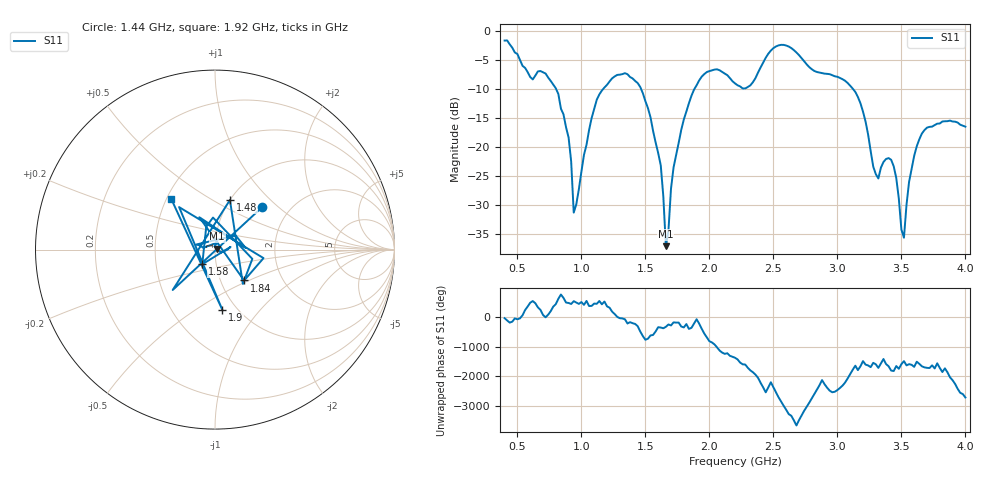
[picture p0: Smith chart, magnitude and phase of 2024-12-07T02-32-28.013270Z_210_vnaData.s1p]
!Created with skrf (http://scikit-rf.org).
# Hz S RI R 50.0
!freq ReS11 ImS11
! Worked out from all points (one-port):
!   181 points, 400 MHz to 4 GHz, reference 50 ohm
!   lowest |S11| = -37.2 dB at 1.66 GHz (marker M1), VSWR 1.03, Z = 51.3 + j0.57 ohm
!   |S11| at or under -10 dB: 801.1 MHz to 1.173 GHz (371.5 MHz wide, 37.6 % of centre); 1.465 GHz to 1.885 GHz (419.5 MHz wide, 25 % of centre); 3.12 GHz to end of sweep
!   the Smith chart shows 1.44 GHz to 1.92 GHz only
!   S11 on the Smith chart (normalised r, x): 1.44 GHz: 1.46, +0.79; 1.48 GHz: 1.00, +0.60; 1.58 GHz: 0.86, -0.14; 1.84 GHz: 1.29, -0.47; 1.9 GHz: 0.86, -0.65; 1.92 GHz: 0.53, +0.35
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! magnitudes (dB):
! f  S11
! 400 MHz  -1.7
! 620 MHz  -8.4
! 720 MHz  -7.4
! 860 MHz  -14.4
! 920 MHz  -22.6
! 940 MHz  -31.4
! 1.12 GHz  -11.9
! 1.3 GHz  -7.6
! 1.44 GHz  -9.0
! 1.48 GHz  -10.8
! 1.58 GHz  -19.3
! 1.62 GHz  -23.3
! 1.66 GHz  -37.2
! 1.72 GHz  -23.6
! 1.76 GHz  -19.4
! 1.84 GHz  -12.5
! 1.9 GHz  -9.4
! 1.92 GHz  -8.6
! 2.2 GHz  -9.1
! 2.66 GHz  -3.4
! 3.1 GHz  -9.5
! 3.2 GHz  -14.0
! 3.3 GHz  -24.8
! 3.44 GHz  -23.4
! 3.52 GHz  -35.7
! 3.56 GHz  -26.1
! 3.68 GHz  -17.2
! 4 GHz  -16.6
